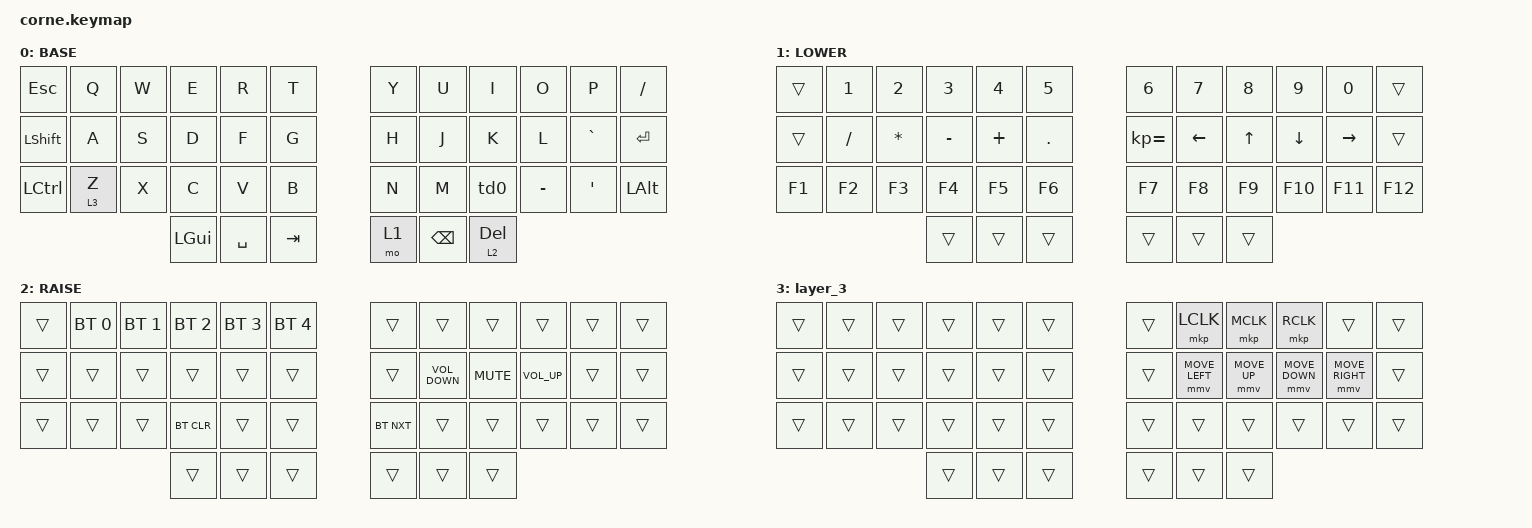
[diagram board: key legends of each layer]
/*
 * Copyright (c) 2020 The ZMK Contributors
 *
 * SPDX-License-Identifier: MIT
 */

#include <behaviors.dtsi>
#include <dt-bindings/zmk/bt.h>
#include <dt-bindings/zmk/keys.h>
#include <dt-bindings/zmk/pointing.h>

/ {
    behaviors {
        ltq: ltq {
            compatible = "zmk,behavior-hold-tap";
            label = "LTQ";
            bindings = <&mo>, <&kp>;

            #binding-cells = <2>;
            tapping-term-ms = <300>;
            quick-tap-ms = <400>;
            flavor = "tap-preferred";
        };

        ht: ht {
            compatible = "zmk,behavior-hold-tap";
            label = "HT";
            bindings = <&kp>, <&kp>;

            #binding-cells = <2>;
            tapping-term-ms = <200>;
            flavor = "tap-preferred";
        };

        td0: td0 {
            compatible = "zmk,behavior-tap-dance";
            label = "TD0";
            #binding-cells = <0>;
            bindings = <&ht DOT COMMA>, <&ht SEMI LS(SEMI)>;

            tapping-term-ms = <300>;
        };
    };

    combos {
        compatible = "zmk,combos";

        left_bkt {
            bindings = <&kp LEFT_BRACKET>;
            key-positions = <16 15>;
            timeout-ms = <30>;
        };

        right_bkt {
            bindings = <&kp RBKT>;
            key-positions = <19 20>;
            timeout-ms = <30>;
        };

        left_par {
            bindings = <&kp LEFT_BRACE>;
            key-positions = <27 28>;
            timeout-ms = <30>;
        };

        right_par {
            bindings = <&kp RIGHT_BRACE>;
            key-positions = <31 32>;
            timeout-ms = <30>;
        };

        left_brace {
            bindings = <&kp LEFT_PARENTHESIS>;
            key-positions = <3 4>;
            timeout-ms = <30>;
        };

        right_brace {
            bindings = <&kp RIGHT_PARENTHESIS>;
            key-positions = <7 8>;
            timeout-ms = <30>;
        };

        bac {
            bindings = <&kp BACKSLASH>;
            key-positions = <5 6>;
        };

        pipe {
            bindings = <&kp PIPE>;
            key-positions = <17 18>;
        };

        less {
            bindings = <&kp LESS_THAN>;
            key-positions = <14 15>;
        };

        greater {
            bindings = <&kp GREATER_THAN>;
            key-positions = <21 20>;
        };
    };

    keymap {
        compatible = "zmk,keymap";

        default_layer {
            display-name = "BASE";
            bindings = <
&kp ESC     &kp Q     &kp W  &kp E     &kp R      &kp T    &kp Y  &kp U          &kp I       &kp O      &kp P      &kp SLASH
&kp LSHIFT  &kp A     &kp S  &kp D     &kp F      &kp G    &kp H  &kp J          &kp K       &kp L      &kp GRAVE  &kp ENTER
&kp LCTRL   &ltq 3 Z  &kp X  &kp C     &kp V      &kp B    &kp N  &kp M          &td0        &kp MINUS  &kp APOS   &kp LEFT_ALT
                             &kp LGUI  &kp SPACE  &kp TAB  &mo 1  &kp BACKSPACE  &ltq 2 DEL
            >;
        };

        lower_layer {
            display-name = "LOWER";
            bindings = <
&trans  &kp N1     &kp N2     &kp N3     &kp N4    &kp N5   &kp N6        &kp N7    &kp N8        &kp N9    &kp N0     &trans
&trans  &kp SLASH  &kp ASTRK  &kp MINUS  &kp PLUS  &kp DOT  &kp KP_EQUAL  &kp LEFT  &kp UP_ARROW  &kp DOWN  &kp RIGHT  &trans
&kp F1  &kp F2     &kp F3     &kp F4     &kp F5    &kp F6   &kp F7        &kp F8    &kp F9        &kp F10   &kp F11    &kp F12
                              &trans     &trans    &trans   &trans        &trans    &trans
            >;
        };

        raise_layer {
            display-name = "RAISE";
            bindings = <
&trans  &bt BT_SEL 0  &bt BT_SEL 1  &bt BT_SEL 2  &bt BT_SEL 3  &bt BT_SEL 4  &trans      &trans             &trans      &trans           &trans  &trans
&trans  &trans        &trans        &trans        &trans        &trans        &trans      &kp C_VOLUME_DOWN  &kp C_MUTE  &kp C_VOLUME_UP  &trans  &trans
&trans  &trans        &trans        &bt BT_CLR    &trans        &trans        &bt BT_NXT  &trans             &trans      &trans           &trans  &trans
                                    &trans        &trans        &trans        &trans      &trans             &trans
            >;
        };

        layer_3 {
            bindings = <
&trans  &trans  &trans  &trans  &trans  &trans  &trans  &mkp LCLK       &mkp MCLK     &mkp RCLK       &trans           &trans
&trans  &trans  &trans  &trans  &trans  &trans  &trans  &mmv MOVE_LEFT  &mmv MOVE_UP  &mmv MOVE_DOWN  &mmv MOVE_RIGHT  &trans
&trans  &trans  &trans  &trans  &trans  &trans  &trans  &trans          &trans        &trans          &trans           &trans
                        &trans  &trans  &trans  &trans  &trans          &trans
            >;
        };
    };
};
